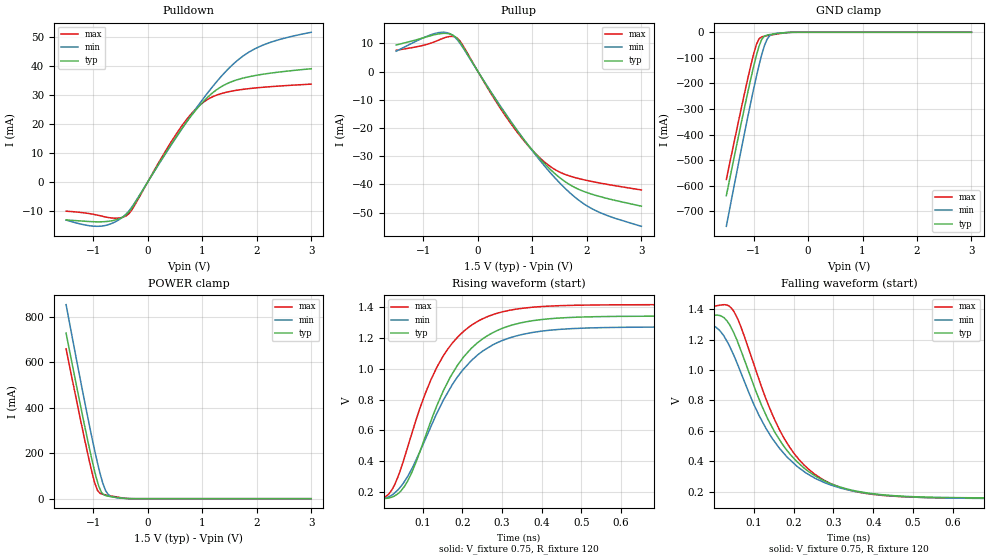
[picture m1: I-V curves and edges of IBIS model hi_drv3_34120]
| [Disclaimer] HISILICON TECHNOLOGIES CO., LTD. hereby grants the
| user of this IBIS model a non-exclusive, nontransferable
| license to use this IBIS model under the following terms.
| The user is granted this license only to use the IBIS model
| and is not granted rights to sell, copy (except as needed to
| run the IBIS model), rent, lease or sub-license the IBIS
| model in whole or in part, or in modified form to anyone. The
| User may modify the IBIS model to suit its specific applicati
| ons, but rights to derivative works and such modifications sh
| all belong to Hisilicon. This IBIS model is provided on an
| "ASIS" basis and Hisilicon  makes absolutely no warranty with
| respect to the information contained herein. HISILICON DISCLAI
| MS AND CUSTOMER WAIVES ALL WARRANTIES, EXPRESS AND IMPLIED, IN
| CLUDING WARRANTIES OF MERCHANTABILITY AND FITNESS FOR A PARTIC
| ULAR PURPOSE. THE ENTIRE RISK AS TO QUALITY AND PERFORMANCE IS
| WITH THE USER ACCORDINGLY, IN NO EVENT SHALL HISILICON BE LIAB
| LE FOR ANY DIRECT OR INDIRECT DAMAGES, WHETHER IN CONTRACT OR
| TORT, INCLUDING ANY LOST PROFITS OR OTHER INCIDENTAL, CONSEQUEN
| TIAL, EXEMPLARY, OR PUNITIVE DAMAGES ARISING OUT OF THE USE OR
| APPLICATION OF THE IBIS MODEL. Further, Hisilicon reserves the
| right to make changes without notice to any product herein to
| improve reliability,fnction, or design. Hisilicon does not convey
| any license under patent rights or any other intellectual property
| rights, including those of third parties. Hisilicon is not obligated
| to provide maintenance or support for the licensed IBIS model.
| [Copyright]  Copyright 2013,HISILICON TECHNOLOGIES CO., LTD.
| all rights reserved
| From Hi3516DV100.ibs, hi3516dv100, hisi inc.
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|   Model hi_drv3_34120
[Model]   hi_drv3_34120
Model_type   I/O
Polarity   Non-Inverting
Enable   Active-High
Vinl = 0.575
Vinh = 0.925
Vmeas = 0.75
Cref = 0
Rref = 120
Vref = 0.75
| variable   typ   min   max
C_comp   3.71825p   3.5711p   3.88438p
| Subparameter   typ   min   max
[Model Spec]
Vinl   0.575   0.575   0.575
Vinh   0.925   0.925   0.925
Vmeas   0.75   0.75   0.75
Cref   0   0   0
Rref   120   120   120
Vref   0.75   0.75   0.75
| Variable   typ   min   max
[Temperature Range] 25   125   -40
| Variable   typ   min   max
[Voltage Range]   1.5   1.425   1.575
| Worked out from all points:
|   slope of the pulldown table from 0 to 0.225 V, typ, clamps not added: 32.4 ohm
|   slope of the pullup table from 0 to 0.225 V, typ, clamps not added: 32.3 ohm
|   GND clamp passes 1 mA (typ) near -0.39 V on its own axis
|   POWER clamp passes 1 mA (typ) near -0.41 V on its own axis
|   rising waveform, V_fixture 0.75, R_fixture 120: 20-80 % time 130ps typ, 143ps min, 122ps max; typ from 0.156 V to 1.34 V
|   falling waveform, V_fixture 0.75, R_fixture 120: 20-80 % time 139ps typ, 147ps min, 131ps max; typ from 1.36 V to 0.159 V
[Power_clamp]
| Note that the [POWER_clamp] voltage table is referenced to Vcc
| and is calculated using Vtable=Vcc - Vmeasured.
| Voltage   I(typ)   I(min)   I(max)
-1.5V     727.7mA    852.8mA    658.7mA
-1.125V   281.1mA    385.1mA    221.9mA
-1.025V   171mA      267.7mA    116.1mA
-975mV    120.3mA    211.6mA    70.26mA
-925mV    75.44mA    158.3mA    36.86mA
-900mV    54.88mA    133.8mA    29.99mA
-850mV    27.44mA    88.23mA    21.16mA
-775mV    14.07mA    35.68mA    16.66mA
-725mV    11.03mA    17.7mA     14.3mA
-625mV    7.126mA    6.658mA    9.778mA
-325mV    220.9uA    245.7uA    291.3uA
3V        -35.46nA   -806.7nA   -14.61nA
[Pulldown]
| Voltage   I(typ)   I(min)   I(max)
-1.5V     -13.14mA   -13.19mA   -10.14mA
-900mV    -13.81mA   -15.35mA   -11.6mA
-650mV    -13.41mA   -14.27mA   -12.51mA
-450mV    -12.06mA   -12.01mA   -12.19mA
-300mV    -9.257mA   -8.907mA   -9.903mA
600mV     17.73mA    17.57mA    18.66mA
850mV     24.05mA    24.39mA    24.58mA
1.05V     28.32mA    29.53mA    27.88mA
1.4V      33.4mA     37.49mA    30.75mA
1.85V     36.27mA    44.72mA    32.17mA
2.3V      37.66mA    48.48mA    32.93mA
3V        39.05mA    51.65mA    33.74mA
[Pullup]
| Voltage   I(typ)   I(min)   I(max)
-1.5V     9.416mA    7.214mA    7.549mA
-825mV    12.92mA    13.29mA    10.33mA
-625mV    13.53mA    13.92mA    11.89mA
-475mV    13.01mA    12.98mA    12.48mA
-325mV    10.23mA    9.904mA    10.7mA
225mV     -6.966mA   -6.776mA   -7.34mA
675mV     -19.78mA   -19.61mA   -20.34mA
1.225V    -32.72mA   -33.55mA   -32.14mA
1.6V      -39.06mA   -41.42mA   -36.48mA
1.975V    -42.75mA   -47.31mA   -38.52mA
2.325V    -44.79mA   -50.71mA   -39.85mA
3V        -47.75mA   -54.89mA   -42mA
[GND_clamp]
| Voltage   I(typ)   I(min)   I(max)
-1.5V     -638.4mA   -758mA     -574.9mA
-1.15V    -277.9mA   -376.6mA   -222.6mA
-1.05V    -180.7mA   -272.8mA   -128.8mA
-950mV    -91.74mA   -174.3mA   -48.96mA
-900mV    -54.39mA   -128.6mA   -25.47mA
-850mV    -27.43mA   -86.91mA   -17.81mA
-800mV    -14.76mA   -51.66mA   -15.26mA
-750mV    -10.72mA   -26.32mA   -13.3mA
-700mV    -8.829mA   -12.74mA   -11.42mA
-600mV    -5.884mA   -5.023mA   -7.823mA
-300mV    -153uA     -214.7uA   -185.4uA
3V        64.26nA    942.4nA    12.95nA
[Ramp]
| Variable   typ   min   max
dV/dt_r   0.720998/0.138325n 0.687146/0.146421n 0.763044/0.130633n
dV/dt_f   0.720998/0.138325n 0.687146/0.146421n 0.763044/0.130633n
R_load = 120
[Rising_Waveform]
V_fixture = 0.75
V_fixture_min = 0.7125
V_fixture_max = 0.7875
R_fixture = 120
| Time   V(typ)   V(min)   V(max)
2.37ps    156.1mV    156.7mV    164mV
29.52ps   174.8mV    193.8mV    247.7mV
62.51ps   272.4mV    301.7mV    493.5mV
118.9ps   647.5mV    615.1mV    917.4mV
152ps     856.1mV    794.9mV    1.083V
191.1ps   1.034V     958mV      1.213V
236.4ps   1.165V     1.085V     1.304V
294.9ps   1.256V     1.177V     1.365V
471.6ps   1.333V     1.26V      1.412V
18.46ns   1.342V     1.271V     1.416V
[Falling_Waveform]
V_fixture = 0.75
V_fixture_min = 0.7125
V_fixture_max = 0.7875
R_fixture = 120
| Time   V(typ)   V(min)   V(max)
650fs     1.359V     1.287V     1.419V
25.28ps   1.344V     1.224V     1.429V
49.42ps   1.248V     1.101V     1.388V
113.3ps   809.8mV    701.7mV    935.9mV
153.2ps   590.2mV    526.2mV    669.9mV
190.3ps   449.7mV    411.9mV    492mV
235.3ps   337.4mV    317.1mV    353.6mV
342.9ps   212.6mV    208.5mV    209mV
528.9ps   165.1mV    162.2mV    161.7mV
18.46ns   158.6mV    154.5mV    157.1mV
